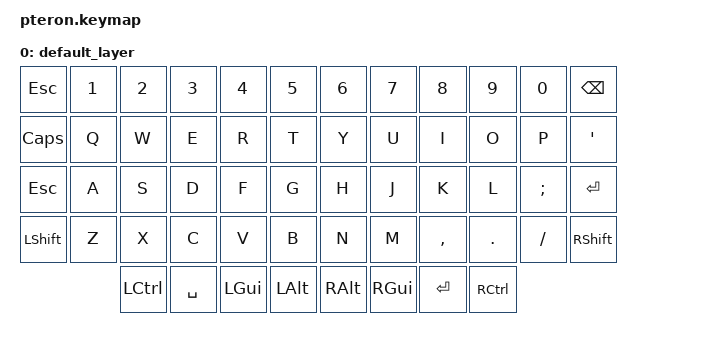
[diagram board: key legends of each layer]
/*
 * Copyright (c) 2021 The ZMK Contributors
 *
 * SPDX-License-Identifier: MIT
 */

#include <behaviors.dtsi>
#include <dt-bindings/zmk/keys.h>
#include <dt-bindings/zmk/bt.h>

#define DEFAULT  0
#define NUM_MODS 1
#define BT_CTRL  2


/ {
    keymap {
        compatible = "zmk,keymap";

        default_layer {
            bindings = <
    &kp ESC    &kp N1    &kp N2     &kp N3     &kp N4    &kp N5      &kp N6    &kp N7    &kp N8     &kp N9     &kp N0    &kp BSPC     
    &kp CAPS   &kp Q     &kp W      &kp E      &kp R     &kp T       &kp Y     &kp U     &kp I      &kp O      &kp P     &kp SQT     
    &kp ESC    &kp A     &kp S      &kp D      &kp F     &kp G       &kp H     &kp J     &kp K      &kp L      &kp SEMI  &kp ENTER     
    &kp LSHFT  &kp Z     &kp X      &kp C      &kp V     &kp B       &kp N     &kp M     &kp COMMA  &kp DOT    &kp FSLH  &kp RSHFT     
                         &kp LCTRL  &kp SPACE  &kp LGUI  &kp LALT    &kp RALT  &kp RGUI  &kp ENTER  &kp RCTRL     
            >;
        };
    };
};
